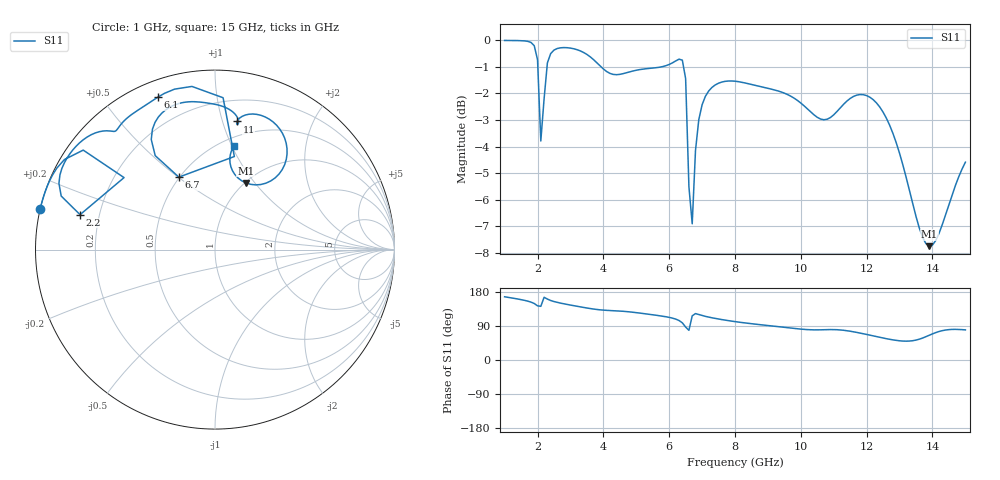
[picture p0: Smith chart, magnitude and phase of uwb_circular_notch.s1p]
! Touchstone file exported from HFSS 2023.2.0
!  File:  C:/Users/Gongzhui/Documents/Projects/hfss-mcp/cases/uwb_circular_notch/nominal/uwb_circular_notch.aedt
!  Generated:  4:30:03 %x4E0B%x5348  8%x6708 13, 2026
!  Design:  CircularMonopole
!  Project:  uwb_circular_notch
!  Setup:  Setup1
!  Solution:  Sweep1
! Variables:
!  air_pad = 25mm
!  g1 = 16mm
!  g2 = 3.9mm
!  g3 = 5.2mm
!  l = 33mm
!  l1 = 16.3mm
!  l2 = 2mm
!  l3 = 10mm
!  l4 = 5mm
!  lw = 3.5mm
!  patch_r = 8mm
!  slot_length = 20mm
!  sub_h = 1.14mm
!  sw = 1mm
!  w = 25mm
# GHz S MA R 50.000000
! Terminal data exported
! Port[1] = 1
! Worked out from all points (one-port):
!   141 points, 1 GHz to 15 GHz, reference 50 ohm
!   lowest |S11| = -7.8 dB at 13.9 GHz (marker M1), VSWR 2.39, Z = 50.5 + j45.1 ohm
!   |S11| at or under -10 dB: nowhere
!   S11 on the Smith chart (normalised r, x): 1 GHz: 0.00, +0.12; 2.2 GHz: 0.13, +0.13; 6.1 GHz: 0.07, +0.69; 6.7 GHz: 0.50, +0.50; 11 GHz: 0.37, +1.12; 15 GHz: 0.58, +1.02
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1  0.9999 166.9
1.8  0.9915 152.8
2  0.9201 143.0
2.1  0.6463 141.6
2.2  0.7765 165.5
2.3  0.9073 160.8
2.4  0.9446 157.0
2.8  0.9695 148.3
3.6  0.9315 135.8
4.5  0.8631 129.2
6.1  0.9074 110.5
6.3  0.922 104.1
6.4  0.9181 98.0
6.5  0.8473 87.0
6.6  0.5297 78.3
6.7  0.4512 116.5
6.8  0.6205 122.5
7.1  0.7845 115.2
8  0.8378 101.3
9.8  0.7781 83.2
11  0.7242 80.3
11.5  0.7775 76.0
12  0.7871 67.4
12.6  0.7134 56.2
13.3  0.5215 50.0
13.9  0.4094 65.2
14.4  0.4697 79.1
15  0.5895 79.5
